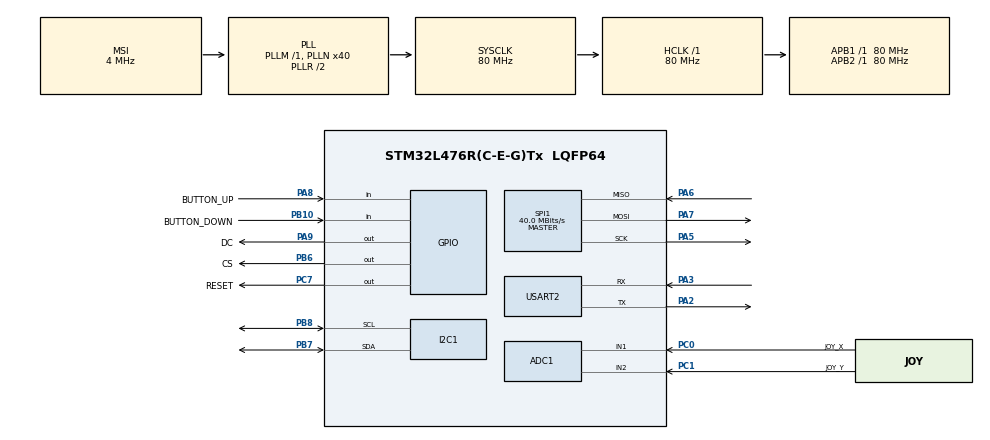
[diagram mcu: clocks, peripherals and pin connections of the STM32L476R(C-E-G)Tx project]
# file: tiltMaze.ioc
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ADC1.Channel-0\#ChannelRegularConversion=ADC_CHANNEL_2
ADC1.Channel-1\#ChannelRegularConversion=ADC_CHANNEL_1
ADC1.ContinuousConvMode=ENABLE
ADC1.DMAContinuousRequests=ENABLE
ADC1.NbrOfConversion=2
ADC1.NbrOfConversionFlag=1
ADC1.OffsetNumber-0\#ChannelRegularConversion=ADC_OFFSET_NONE
ADC1.OffsetNumber-1\#ChannelRegularConversion=ADC_OFFSET_NONE
ADC1.Rank-0\#ChannelRegularConversion=1
ADC1.Rank-1\#ChannelRegularConversion=2
ADC1.SamplingTime-0\#ChannelRegularConversion=ADC_SAMPLETIME_640CYCLES_5
ADC1.SamplingTime-1\#ChannelRegularConversion=ADC_SAMPLETIME_640CYCLES_5
ADC1.master=1
Dma.ADC1.0.Direction=DMA_PERIPH_TO_MEMORY
Dma.ADC1.0.Instance=DMA1_Channel1
Dma.ADC1.0.MemDataAlignment=DMA_MDATAALIGN_HALFWORD
Dma.ADC1.0.MemInc=DMA_MINC_ENABLE
Dma.ADC1.0.Mode=DMA_CIRCULAR
Dma.ADC1.0.PeriphDataAlignment=DMA_PDATAALIGN_HALFWORD
Dma.ADC1.0.PeriphInc=DMA_PINC_DISABLE
Dma.ADC1.0.Priority=DMA_PRIORITY_LOW
Dma.Request0=ADC1
I2C1.Timing=0x10D19CE4
Mcu.Family=STM32L4
Mcu.Name=STM32L476R(C-E-G)Tx
Mcu.Package=LQFP64
NVIC.DMA1_Channel1_IRQn=true\:9\:0\:true\:false\:true\:false\:true\:true
NVIC.PriorityGroup=NVIC_PRIORITYGROUP_4
NVIC.USART2_IRQn=true\:10\:0\:true\:false\:true\:true\:true\:true
PA13\ (JTMS-SWDIO).Mode=Serial_Wire
PA13\ (JTMS-SWDIO).Signal=SYS_JTMS-SWDIO
PA14\ (JTCK-SWCLK).Mode=Serial_Wire
PA14\ (JTCK-SWCLK).Signal=SYS_JTCK-SWCLK
PA2.Mode=Asynchronous
PA2.Signal=USART2_TX
PA3.Mode=Asynchronous
PA3.Signal=USART2_RX
PA5.Mode=Full_Duplex_Master
PA5.Signal=SPI1_SCK
PA6.Mode=Full_Duplex_Master
PA6.Signal=SPI1_MISO
PA7.Mode=Full_Duplex_Master
PA7.Signal=SPI1_MOSI
PA8.GPIO_Label=BUTTON_UP
PA8.GPIO_PuPd=GPIO_NOPULL
PA8.Signal=GPIO_Input
PA9.GPIO_Label=DC
PA9.Signal=GPIO_Output
PB10.GPIO_Label=BUTTON_DOWN
PB10.GPIO_PuPd=GPIO_NOPULL
PB10.Signal=GPIO_Input
PB6.GPIO_Label=CS
PB6.Signal=GPIO_Output
PB7.Mode=I2C
PB7.Signal=I2C1_SDA
PB8.Mode=I2C
PB8.Signal=I2C1_SCL
PC0.GPIO_Label=JOY_X
PC0.Signal=ADCx_IN1
PC1.GPIO_Label=JOY_Y
PC1.Signal=ADCx_IN2
PC7.GPIO_Label=RESET
PC7.Signal=GPIO_Output
ProjectManager.HeapSize=0x200
ProjectManager.StackSize=0x400
ProjectManager.TargetToolchain=CMake
RCC.ADCFreq_Value=32000000
RCC.AHBFreq_Value=80000000
RCC.APB1Freq_Value=80000000
RCC.APB1TimFreq_Value=80000000
RCC.APB2Freq_Value=80000000
RCC.APB2TimFreq_Value=80000000
RCC.CortexFreq_Value=80000000
RCC.HCLKFreq_Value=80000000
RCC.HSE_VALUE=8000000
RCC.HSI_VALUE=16000000
RCC.LSE_VALUE=32768
RCC.MSI_VALUE=4000000
RCC.PLLN=40
RCC.PLLSAI1N=16
RCC.SYSCLKFreq_VALUE=80000000
RCC.SYSCLKSource=RCC_SYSCLKSOURCE_PLLCLK
RCC.USBFreq_Value=32000000
RCC.VCOOutputFreq_Value=160000000
SH.ADCx_IN1.0=ADC1_IN1,IN1-Single-Ended
SH.ADCx_IN2.0=ADC1_IN2,IN2-Single-Ended
SPI1.BaudRatePrescaler=SPI_BAUDRATEPRESCALER_2
SPI1.CalculateBaudRate=40.0 MBits/s
SPI1.DataSize=SPI_DATASIZE_8BIT
SPI1.Direction=SPI_DIRECTION_2LINES
SPI1.Mode=SPI_MODE_MASTER
SPI1.VirtualType=VM_MASTER
USART2.OverrunDisableParam=ADVFEATURE_OVERRUN_DISABLE
USART2.VirtualMode-Asynchronous=VM_ASYNC
board=custom

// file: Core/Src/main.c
/* USER CODE BEGIN Header */
/**
  ******************************************************************************
  * @file           : main.c
  * @brief          : Main program body
  ******************************************************************************
  * @attention
  *
  * Copyright (c) 2026 STMicroelectronics.
  * All rights reserved.
  *
  * This software is licensed under terms that can be found in the LICENSE file
  * in the root directory of this software component.
  * If no LICENSE file comes with this software, it is provided AS-IS.
  *
  ******************************************************************************
  */
/* USER CODE END Header */
#include "main.h"
#include "adc.h"
#include "basicTypes.h"
#include "dma.h"
#include "fonts.h"
#include "game.h"
#include "i2c.h"

/* USER CODE BEGIN Includes */
#include "ili9341.h"
#include "renderer.h"
#include "inputConfig.h"
#include "my_uart.h"
#include "gameplay.h"
#include "stm32l4xx_hal.h"
#include <stdio.h>
/* USER CODE END Includes */

/* USER CODE BEGIN PD */
#define LOOP_PERIOD_MS 10
/* USER CODE END PD */

/* USER CODE BEGIN PV */
assetManager_t assets;
renderer_t renderer;
ili9341_t ili = {
  .csPort = CS_GPIO_Port,
  .csPin = CS_Pin,
  .resPort = RESET_GPIO_Port,
  .resPin = RESET_Pin,
  .dcPort = DC_GPIO_Port,
  .dcPin = DC_Pin,
  .spiHandle = &hspi1,
  .height = ILI9341_HEIGHT,
  .width = ILI9341_WIDTH,
  .colorFormat = BGR
};
input_t input;
button_t resumeButton;
button_t pauseButton;

uart_t uart = {
  .uart_handle = &huart2
};
game_t game;

uint32_t currentTime = 0;
uint32_t previousTime = 0;

uint16_t last50fps[20];
uint16_t fpsIdx = 0;
uint32_t lastFpsTime = 0;

/* USER CODE END PV */

void SystemClock_Config(void);

int main(void)
{

  /* MCU Configuration--------------------------------------------------------*/

  /* Reset of all peripherals, Initializes the Flash interface and the Systick. */
  HAL_Init();

  /* Configure the system clock */
  SystemClock_Config();

  /* Initialize all configured peripherals */
  MX_GPIO_Init();
  MX_DMA_Init();
  MX_SPI1_Init();
  MX_I2C1_Init();
  MX_USART2_UART_Init();
  MX_ADC1_Init();
  /* USER CODE BEGIN 2 */

  my_uart_init(&uart);

  assetManager_init(&assets);
  renderer_init(&renderer, &ili, &assets, ILI9341_WHITE);

  input_init(&input);
  inputConfig_init(&input);
  game_init(&game, &input, &renderer, &assets);

  button_t *button;
  joystick_t *joystick;
  floatVector2_t joystick_previousPosition = {0, 0};

  joystick = input_getJoystick(&input, LEFT_ANALOG);
  joystick_invertAxis_x(joystick);
  /* USER CODE END 2 */

  /* Infinite loop */
  /* USER CODE BEGIN WHILE */
  while (1)
  {
    currentTime = HAL_GetTick();
    if(currentTime - previousTime > LOOP_PERIOD_MS){
      input_update(&input, LOOP_PERIOD_MS);
      game_update(&game, LOOP_PERIOD_MS);
      game_render(&game);
      /*
      button = input_getButton(&input, BUTTON_RESUME);
      if(button_wasPressed(button)){
        my_uart_printf(&uart, "buttonResume was pressed\n");
      }

      button = input_getButton(&input, BUTTON_PAUSE);
      if(button_wasPressed(button)){
        my_uart_printf(&uart, "buttonPause was pressed\n");
      }

      joystick = input_getJoystick(&input, LEFT_ANALOG);

      floatVector2_t joystick_currentPosition;
      joystick_currentPosition.x = joystick_getPosition_x(joystick);
      joystick_currentPosition.y = joystick_getPosition_y(joystick);

      if(joystick_currentPosition.x > 60.0f && joystick_previousPosition.x <= 60.0f){
        my_uart_printf(&uart, "joystick: LEFT\n");
      }
      else if(joystick_currentPosition.x < -60.0f && joystick_previousPosition.x >= -60.0f){
        my_uart_printf(&uart, "joystick: RIGHT\n");
      }
      if(joystick_currentPosition.y > 60.0f && joystick_previousPosition.y <= 60.0f){
        my_uart_printf(&uart, "joystick: UP\n");
      }
      else if(joystick_currentPosition.y < -60.0f && joystick_previousPosition.y >= -60.0f){
        my_uart_printf(&uart, "joystick: DOWN\n");
      }
      joystick_previousPosition.x = joystick_currentPosition.x;
      joystick_previousPosition.y = joystick_currentPosition.y;
      */

      lastFpsTime = HAL_GetTick();
      uint16_t fps;
      if(lastFpsTime == previousTime){
        fps = 999;
      }
      else{
        fps = 1000 / (lastFpsTime - previousTime);
        if(fps > 999){
          fps = 999;
        }
      }
      last50fps[fpsIdx] = fps;

      if(fpsIdx == ARRAY_SIZE(last50fps) - 1){
        uint32_t sum = 0;
        for(int idx = 0; idx <= fpsIdx; idx++){
          sum += last50fps[idx];
        }
        uint16_t avgFps = sum / ARRAY_SIZE(last50fps);
        char text[10];
        sprintf(text, "%d fps", avgFps);
        vector2_t pos = {0, 0};
        renderer_drawText_noBackgroung(&renderer, FONT_GOTH, text, pos, ILI9341_BLACK);
        fpsIdx = 0;
      }
      else{
        fpsIdx++;
      }

      previousTime = HAL_GetTick();
    }
    /* USER CODE END WHILE */

  }
}

void SystemClock_Config(void)
{
  RCC_OscInitTypeDef RCC_OscInitStruct = {0};
  RCC_ClkInitTypeDef RCC_ClkInitStruct = {0};

  /** Configure the main internal regulator output voltage
  */
  if (HAL_PWREx_ControlVoltageScaling(PWR_REGULATOR_VOLTAGE_SCALE1) != HAL_OK)
  {
    Error_Handler();
  }

  /** Initializes the RCC Oscillators according to the specified parameters
  * in the RCC_OscInitTypeDef structure.
  */
  RCC_OscInitStruct.OscillatorType = RCC_OSCILLATORTYPE_MSI;
  RCC_OscInitStruct.MSIState = RCC_MSI_ON;
  RCC_OscInitStruct.MSICalibrationValue = 0;
  RCC_OscInitStruct.MSIClockRange = RCC_MSIRANGE_6;
  RCC_OscInitStruct.PLL.PLLState = RCC_PLL_ON;
  RCC_OscInitStruct.PLL.PLLSource = RCC_PLLSOURCE_MSI;
  RCC_OscInitStruct.PLL.PLLM = 1;
  RCC_OscInitStruct.PLL.PLLN = 40;
  RCC_OscInitStruct.PLL.PLLP = RCC_PLLP_DIV7;
  RCC_OscInitStruct.PLL.PLLQ = RCC_PLLQ_DIV2;
  RCC_OscInitStruct.PLL.PLLR = RCC_PLLR_DIV2;
  if (HAL_RCC_OscConfig(&RCC_OscInitStruct) != HAL_OK)
  {
    Error_Handler();
  }

  /** Initializes the CPU, AHB and APB buses clocks
  */
  RCC_ClkInitStruct.ClockType = RCC_CLOCKTYPE_HCLK|RCC_CLOCKTYPE_SYSCLK
                              |RCC_CLOCKTYPE_PCLK1|RCC_CLOCKTYPE_PCLK2;
  RCC_ClkInitStruct.SYSCLKSource = RCC_SYSCLKSOURCE_PLLCLK;
  RCC_ClkInitStruct.AHBCLKDivider = RCC_SYSCLK_DIV1;
  RCC_ClkInitStruct.APB1CLKDivider = RCC_HCLK_DIV1;
  RCC_ClkInitStruct.APB2CLKDivider = RCC_HCLK_DIV1;

  if (HAL_RCC_ClockConfig(&RCC_ClkInitStruct, FLASH_LATENCY_4) != HAL_OK)
  {
    Error_Handler();
  }
}

void Error_Handler(void)
{
  __disable_irq();
  while (1)
  {
  }
}
